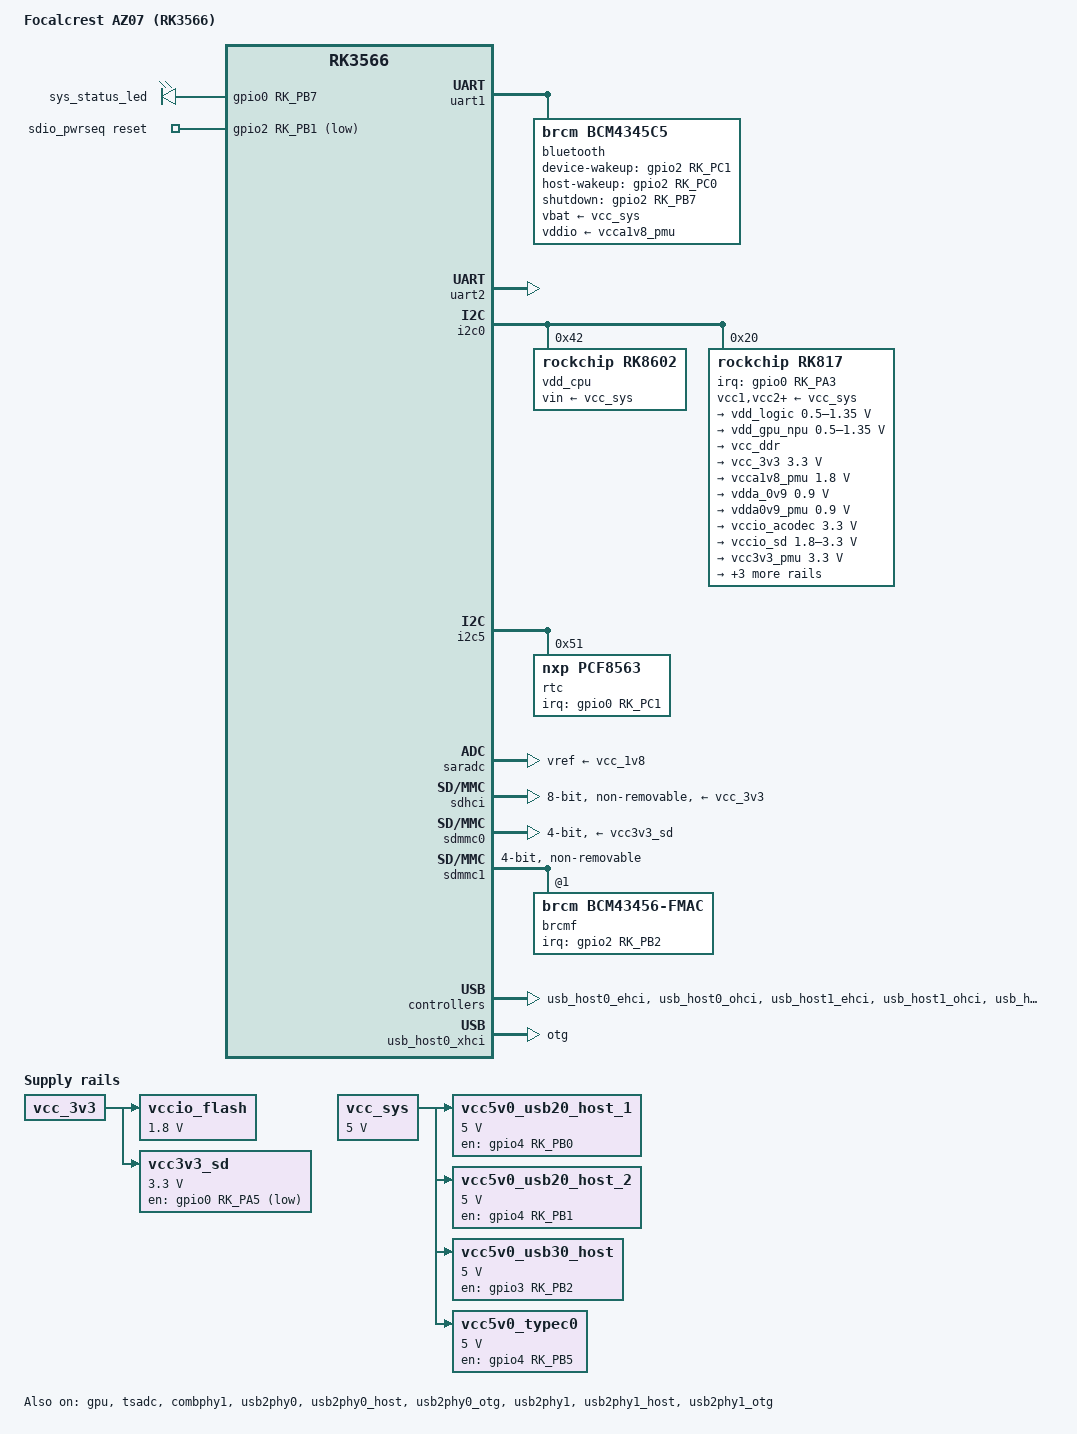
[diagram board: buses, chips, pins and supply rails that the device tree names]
// SPDX-License-Identifier: (GPL-2.0+ OR MIT)
/dts-v1/;

#include <dt-bindings/gpio/gpio.h>
#include <dt-bindings/interrupt-controller/irq.h>
#include <dt-bindings/pinctrl/rockchip.h>
#include "rk3566.dtsi"

/ {
	model = "Focalcrest AZ07 (RK3566)";
	compatible = "focalcrest,az07", "rockchip,rk3566";

	aliases {
		mmc0 = &sdhci;
		mmc1 = &sdmmc0;
		mmc2 = &sdmmc1;
		serial2 = &uart2;
	};

	chosen {
		stdout-path = "serial2:1500000n8";
	};

	vcc_sys: regulator-vcc-sys {
		compatible = "regulator-fixed";
		regulator-name = "vcc_sys";
		regulator-always-on;
		regulator-boot-on;
		regulator-min-microvolt = <5000000>;
		regulator-max-microvolt = <5000000>;
	};

	vccio_flash: regulator-vccio-flash {
		compatible = "regulator-fixed";
		regulator-name = "vccio_flash";
		regulator-min-microvolt = <1800000>;
		regulator-max-microvolt = <1800000>;
		vin-supply = <&vcc_3v3>;
	};

	vcc3v3_sd: regulator-vcc3v3-sd {
		compatible = "regulator-fixed";
		regulator-name = "vcc3v3_sd";
		regulator-boot-on;
		regulator-min-microvolt = <3300000>;
		regulator-max-microvolt = <3300000>;
		gpio = <&gpio0 RK_PA5 GPIO_ACTIVE_LOW>;
		pinctrl-names = "default";
		pinctrl-0 = <&vcc_sd_h>;
		vin-supply = <&vcc_3v3>;
	};

	vcc5v0_usb20_host_1: regulator-vcc5v0-usb20-host-1 {
		compatible = "regulator-fixed";
		regulator-name = "vcc5v0_usb20_host_1";
		regulator-always-on;
		regulator-boot-on;
		regulator-min-microvolt = <5000000>;
		regulator-max-microvolt = <5000000>;
		enable-active-high;
		gpio = <&gpio4 RK_PB0 GPIO_ACTIVE_HIGH>;
		pinctrl-names = "default";
		pinctrl-0 = <&usb20_host_1_pwr_en>;
		vin-supply = <&vcc_sys>;
	};

	vcc5v0_usb20_host_2: regulator-vcc5v0-usb20-host-2 {
		compatible = "regulator-fixed";
		regulator-name = "vcc5v0_usb20_host_2";
		regulator-always-on;
		regulator-boot-on;
		regulator-min-microvolt = <5000000>;
		regulator-max-microvolt = <5000000>;
		enable-active-high;
		gpio = <&gpio4 RK_PB1 GPIO_ACTIVE_HIGH>;
		pinctrl-names = "default";
		pinctrl-0 = <&usb20_host_2_pwr_en>;
		vin-supply = <&vcc_sys>;
	};

	vcc5v0_usb30_host: regulator-vcc5v0-usb30-host {
		compatible = "regulator-fixed";
		regulator-name = "vcc5v0_usb30_host";
		regulator-always-on;
		regulator-boot-on;
		regulator-min-microvolt = <5000000>;
		regulator-max-microvolt = <5000000>;
		enable-active-high;
		gpio = <&gpio3 RK_PB2 GPIO_ACTIVE_HIGH>;
		pinctrl-names = "default";
		pinctrl-0 = <&usb30_host_pwr_en>;
		vin-supply = <&vcc_sys>;
	};

	vcc5v0_typec0: regulator-vcc5v0-typec0 {
		compatible = "regulator-fixed";
		regulator-name = "vcc5v0_typec0";
		regulator-min-microvolt = <5000000>;
		regulator-max-microvolt = <5000000>;
		enable-active-high;
		gpio = <&gpio4 RK_PB5 GPIO_ACTIVE_HIGH>;
		pinctrl-names = "default";
		pinctrl-0 = <&typec0_vbus_en>;
		vin-supply = <&vcc_sys>;
	};

	leds {
		compatible = "gpio-leds";
		pinctrl-names = "default";
		pinctrl-0 = <&sys_status_led_pin>;

		led-0 {
			label = "sys_status_led";
			gpios = <&gpio0 RK_PB7 GPIO_ACTIVE_HIGH>;
			linux,default-trigger = "heartbeat";
		};
	};

	firmware {
		optee {
			compatible = "linaro,optee-tz";
			method = "smc";
		};
	};

	reserved-memory {
		#address-cells = <2>;
		#size-cells = <2>;
		ranges;

		optee@8400000 {
			reg = <0x0 0x08400000 0x0 0x01000000>;
			no-map;
		};
	};

	sdio_pwrseq: sdio-pwrseq {
		compatible = "mmc-pwrseq-simple";
		clocks = <&rtc>;
		clock-names = "ext_clock";
		pinctrl-names = "default";
		pinctrl-0 = <&wifi_reg_on_h>;
		post-power-on-delay-ms = <200>;
		reset-gpios = <&gpio2 RK_PB1 GPIO_ACTIVE_LOW>;
	};
};

&cpu0 { cpu-supply = <&vdd_cpu>; };
&cpu1 { cpu-supply = <&vdd_cpu>; };
&cpu2 { cpu-supply = <&vdd_cpu>; };
&cpu3 { cpu-supply = <&vdd_cpu>; };

&gpu { mali-supply = <&vdd_gpu_npu>; status = "okay"; };

&uart1 {
	pinctrl-names = "default";
	pinctrl-0 = <&uart1m0_xfer &uart1m0_ctsn &uart1m0_rtsn>;
	uart-has-rtscts;
	status = "okay";

	bluetooth {
		compatible = "brcm,bcm4345c5";
		clocks = <&rtc>;
		clock-names = "lpo";
		max-speed = <3000000>;
		device-wakeup-gpios = <&gpio2 RK_PC1 GPIO_ACTIVE_HIGH>;
		host-wakeup-gpios = <&gpio2 RK_PC0 GPIO_ACTIVE_HIGH>;
		shutdown-gpios = <&gpio2 RK_PB7 GPIO_ACTIVE_HIGH>;
		vbat-supply = <&vcc_sys>;
		vddio-supply = <&vcca1v8_pmu>;
		pinctrl-names = "default";
		pinctrl-0 = <&bt_reg_on_h &host_wake_bt_h &bt_wake_host_h>;
	};
};

&uart2 {
	pinctrl-names = "default";
	pinctrl-0 = <&uart2m0_xfer>;
	status = "okay";
};

&i2c0 {
	pinctrl-names = "default";
	pinctrl-0 = <&i2c0_xfer>;
	status = "okay";

	vdd_cpu: regulator@42 {
		compatible = "rockchip,rk8602";
		reg = <0x42>;
		fcs,suspend-voltage-selector = <1>;
		regulator-name = "vdd_cpu";
		regulator-always-on;
		regulator-boot-on;
		regulator-min-microvolt = <712500>;
		regulator-max-microvolt = <1200000>;
		regulator-ramp-delay = <2300>;
		vin-supply = <&vcc_sys>;

		regulator-state-mem {
			regulator-off-in-suspend;
		};
	};

	rk817: pmic@20 {
		compatible = "rockchip,rk817";
		reg = <0x20>;
		interrupt-parent = <&gpio0>;
		interrupts = <RK_PA3 IRQ_TYPE_LEVEL_LOW>;
		#clock-cells = <1>;
		clock-output-names = "rk817-clkout1", "rk817-clkout2";
		pinctrl-names = "default";
		pinctrl-0 = <&pmic_int_l>;
		rockchip,system-power-controller;
		wakeup-source;

		vcc1-supply = <&vcc_sys>;
		vcc2-supply = <&vcc_sys>;
		vcc3-supply = <&vcc_sys>;
		vcc4-supply = <&vcc_sys>;
		vcc5-supply = <&vcc_sys>;
		vcc6-supply = <&vcc_sys>;
		vcc7-supply = <&vcc_sys>;

		regulators {
			vdd_logic: DCDC_REG1 {
				regulator-name = "vdd_logic";
				regulator-always-on;
				regulator-boot-on;
				regulator-initial-mode = <2>;
				regulator-min-microvolt = <500000>;
				regulator-max-microvolt = <1350000>;
				regulator-ramp-delay = <6001>;
				regulator-state-mem {
					regulator-on-in-suspend;
					regulator-suspend-microvolt = <900000>;
				};
			};

			vdd_gpu_npu: DCDC_REG2 {
				regulator-name = "vdd_gpu_npu";
				regulator-always-on;
				regulator-boot-on;
				regulator-initial-mode = <2>;
				regulator-min-microvolt = <500000>;
				regulator-max-microvolt = <1350000>;
				regulator-ramp-delay = <6001>;
				regulator-state-mem {
					regulator-off-in-suspend;
				};
			};

			vcc_ddr: DCDC_REG3 {
				regulator-name = "vcc_ddr";
				regulator-always-on;
				regulator-boot-on;
				regulator-initial-mode = <2>;
				regulator-state-mem {
					regulator-on-in-suspend;
				};
			};

			vcc_3v3: DCDC_REG4 {
				regulator-name = "vcc_3v3";
				regulator-always-on;
				regulator-boot-on;
				regulator-initial-mode = <2>;
				regulator-min-microvolt = <3300000>;
				regulator-max-microvolt = <3300000>;
				regulator-state-mem {
					regulator-on-in-suspend;
					regulator-suspend-microvolt = <3300000>;
				};
			};

			vcca1v8_pmu: LDO_REG1 {
				regulator-name = "vcca1v8_pmu";
				regulator-always-on;
				regulator-boot-on;
				regulator-min-microvolt = <1800000>;
				regulator-max-microvolt = <1800000>;
				regulator-state-mem {
					regulator-on-in-suspend;
					regulator-suspend-microvolt = <1800000>;
				};
			};

			vdda_0v9: LDO_REG2 {
				regulator-name = "vdda_0v9";
				regulator-always-on;
				regulator-boot-on;
				regulator-min-microvolt = <900000>;
				regulator-max-microvolt = <900000>;
				regulator-state-mem {
					regulator-off-in-suspend;
				};
			};

			vdda0v9_pmu: LDO_REG3 {
				regulator-name = "vdda0v9_pmu";
				regulator-always-on;
				regulator-boot-on;
				regulator-min-microvolt = <900000>;
				regulator-max-microvolt = <900000>;
				regulator-state-mem {
					regulator-on-in-suspend;
					regulator-suspend-microvolt = <900000>;
				};
			};

			vccio_acodec: LDO_REG4 {
				regulator-name = "vccio_acodec";
				regulator-min-microvolt = <3300000>;
				regulator-max-microvolt = <3300000>;
				regulator-state-mem {
					regulator-off-in-suspend;
				};
			};

			vccio_sd: LDO_REG5 {
				regulator-name = "vccio_sd";
				regulator-min-microvolt = <1800000>;
				regulator-max-microvolt = <3300000>;
				regulator-state-mem {
					regulator-off-in-suspend;
				};
			};

			vcc3v3_pmu: LDO_REG6 {
				regulator-name = "vcc3v3_pmu";
				regulator-always-on;
				regulator-boot-on;
				regulator-min-microvolt = <3300000>;
				regulator-max-microvolt = <3300000>;
				regulator-state-mem {
					regulator-on-in-suspend;
					regulator-suspend-microvolt = <3300000>;
				};
			};

			vcc_1v8: LDO_REG7 {
				regulator-name = "vcc_1v8";
				regulator-always-on;
				regulator-boot-on;
				regulator-min-microvolt = <1800000>;
				regulator-max-microvolt = <1800000>;
				regulator-state-mem {
					regulator-off-in-suspend;
				};
			};

			vcc1v8_adc: LDO_REG8 {
				regulator-name = "vcc1v8_adc";
				regulator-always-on;
				regulator-boot-on;
				regulator-min-microvolt = <1800000>;
				regulator-max-microvolt = <1800000>;
				regulator-state-mem {
					regulator-off-in-suspend;
				};
			};

			vcc2v8_dvp: LDO_REG9 {
				regulator-name = "vcc2v8_dvp";
				regulator-min-microvolt = <2800000>;
				regulator-max-microvolt = <2800000>;
				regulator-state-mem {
					regulator-off-in-suspend;
				};
			};
		};
	};
};

&i2c5 {
	pinctrl-names = "default";
	pinctrl-0 = <&i2c5m0_xfer>;
	status = "okay";

	rtc: rtc@51 {
		compatible = "nxp,pcf8563";
		reg = <0x51>;
		#clock-cells = <0>;
		clock-output-names = "rtcout";
		interrupt-parent = <&gpio0>;
		interrupts = <RK_PC1 IRQ_TYPE_LEVEL_LOW>;
		pinctrl-names = "default";
		pinctrl-0 = <&rtc_int_n>;
		wakeup-source;
	};
};

&pmu_io_domains {
	status = "okay";
	pmuio1-supply = <&vcc3v3_pmu>;
	pmuio2-supply = <&vcc3v3_pmu>;
	vccio1-supply = <&vcc_3v3>;
	vccio2-supply = <&vccio_flash>;
	vccio3-supply = <&vccio_sd>;
	vccio4-supply = <&vcca1v8_pmu>;
	vccio5-supply = <&vcc_3v3>;
	vccio6-supply = <&vcc_3v3>;
	vccio7-supply = <&vcc_3v3>;
};

&saradc {
	vref-supply = <&vcc_1v8>;
	status = "okay";
};

&tsadc {
	rockchip,hw-tshut-mode = <1>;
	rockchip,hw-tshut-polarity = <0>;
	status = "okay";
};

&sdhci {
	bus-width = <8>;
	max-frequency = <200000000>;
	mmc-hs200-1_8v;
	non-removable;
	pinctrl-names = "default";
	pinctrl-0 = <&emmc_bus8 &emmc_clk &emmc_cmd &emmc_datastrobe
		     &emmc_rstnout>;
	vmmc-supply = <&vcc_3v3>;
	vqmmc-supply = <&vccio_flash>;
	status = "okay";
};

&sdmmc0 {
	bus-width = <4>;
	max-frequency = <150000000>;
	cap-mmc-highspeed;
	cap-sd-highspeed;
	disable-wp;
	sd-uhs-sdr104;
	vmmc-supply = <&vcc3v3_sd>;
	vqmmc-supply = <&vccio_sd>;
	pinctrl-names = "default";
	pinctrl-0 = <&sdmmc0_bus4 &sdmmc0_clk &sdmmc0_cmd &sdmmc0_det>;
	status = "okay";
};

&sdmmc1 {
	bus-width = <4>;
	cap-sd-highspeed;
	cap-sdio-irq;
	disable-wp;
	keep-power-in-suspend;
	max-frequency = <150000000>;
	mmc-pwrseq = <&sdio_pwrseq>;
	non-removable;
	sd-uhs-sdr104;
	pinctrl-names = "default";
	pinctrl-0 = <&sdmmc1_bus4 &sdmmc1_clk &sdmmc1_cmd>;
	
	vqmmc-supply = <&vcca1v8_pmu>;
	#address-cells = <1>;
	#size-cells = <0>;
	status = "okay";

	brcmf: wifi@1 {
		compatible = "brcm,bcm43456-fmac", "brcm,bcm4329-fmac";
		reg = <1>;
		
		interrupt-parent = <&gpio2>;
		interrupts = <RK_PB2 IRQ_TYPE_LEVEL_HIGH>;
		interrupt-names = "host-wake";
		pinctrl-names = "default";
		pinctrl-0 = <&wifi_host_wake_h>;
	};
};

&combphy1 {
	status = "okay";
};

&usb2phy0 {
	status = "okay";
};

&usb2phy0_host {
	status = "okay";
};

&usb2phy0_otg {
	vbus-supply = <&vcc5v0_typec0>;
	status = "okay";
};

&usb2phy1 {
	status = "okay";
};

&usb2phy1_host {
	status = "okay";
};

&usb2phy1_otg {
	status = "okay";
};

&usb_host0_ehci {
	status = "okay";
};

&usb_host0_ohci {
	status = "okay";
};

&usb_host0_xhci {
	dr_mode = "otg";
	status = "okay";
};

&usb_host1_ehci {
	status = "okay";
};

&usb_host1_ohci {
	status = "okay";
};

&usb_host1_xhci {
	status = "okay";
};

&pinctrl {
	bluetooth {
		bt_reg_on_h: bt-reg-on-h {
			rockchip,pins = <2 RK_PB7 RK_FUNC_GPIO &pcfg_pull_none>;
		};

		bt_wake_host_h: bt-wake-host-h {
			rockchip,pins = <2 RK_PC0 RK_FUNC_GPIO &pcfg_pull_none>;
		};

		host_wake_bt_h: host-wake-bt-h {
			rockchip,pins = <2 RK_PC1 RK_FUNC_GPIO &pcfg_pull_none>;
		};
	};

	leds {
		sys_status_led_pin: sys-status-led-pin {
			rockchip,pins = <0 RK_PB7 RK_FUNC_GPIO &pcfg_pull_none>;
		};
	};

	pmic {
		pmic_int_l: pmic-int-l {
			rockchip,pins = <0 RK_PA3 RK_FUNC_GPIO &pcfg_pull_up>;
		};
	};

	rtc {
		rtc_int_n: rtc-int-n {
			rockchip,pins = <0 RK_PC1 RK_FUNC_GPIO &pcfg_pull_none>;
		};
	};

	sdmmc {
		vcc_sd_h: vcc-sd-h {
			rockchip,pins = <0 RK_PA5 RK_FUNC_GPIO &pcfg_pull_none>;
		};
	};

	usb {
		usb20_host_1_pwr_en: usb20-host-1-pwr-en {
			rockchip,pins = <4 RK_PB0 RK_FUNC_GPIO &pcfg_pull_none>;
		};

		usb20_host_2_pwr_en: usb20-host-2-pwr-en {
			rockchip,pins = <4 RK_PB1 RK_FUNC_GPIO &pcfg_pull_none>;
		};

		usb30_host_pwr_en: usb30-host-pwr-en {
			rockchip,pins = <3 RK_PB2 RK_FUNC_GPIO &pcfg_pull_none>;
		};

		typec0_vbus_en: typec0-vbus-en {
			rockchip,pins = <4 RK_PB5 RK_FUNC_GPIO &pcfg_pull_none>;
		};
	};

	wifi {
		wifi_reg_on_h: wifi-reg-on-h {
			rockchip,pins = <2 RK_PB1 RK_FUNC_GPIO &pcfg_pull_none>;
		};

		wifi_host_wake_h: wifi-host-wake-h {
			rockchip,pins = <2 RK_PB2 RK_FUNC_GPIO &pcfg_pull_none>;
		};
	};
};
